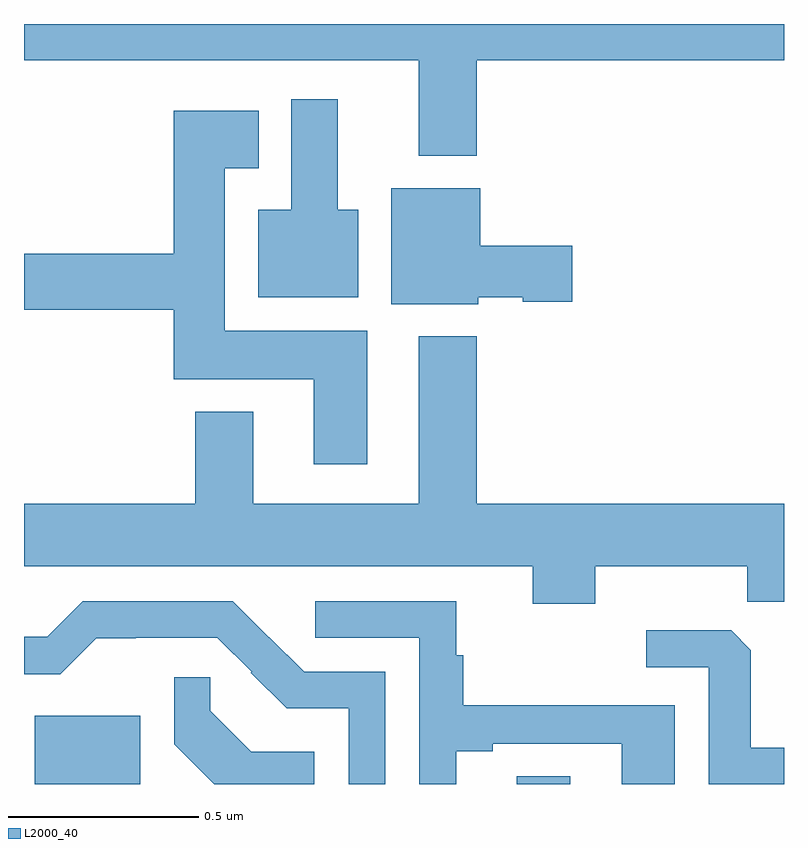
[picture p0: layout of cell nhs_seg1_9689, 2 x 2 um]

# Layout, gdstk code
import gdstk
lib = gdstk.Library(unit=1e-6, precision=1e-09)
def R(c, l, rs):  # rectangles x0, y0, x1, y1
    for r in rs: c.add(gdstk.rectangle(r[:2], r[2:], *l))
def P(c, l, *ps):  # polygons
    for p in ps: c.add(gdstk.Polygon(p, *l))
L2000_40 = (2000, 40)

nhs_seg1_9689 = lib.new_cell('nhs_seg1_9689')
R(nhs_seg1_9689, L2000_40, [(232.028,511.199,232.306,511.378), (233.297,511.199,233.437,511.22)])
P(nhs_seg1_9689, L2000_40, [(233.192,513.104),(234,513.104),(234,513.199),(232,513.199),(232,513.104),(233.039,513.104),(233.039,512.852),(233.192,512.852)],
  [(232.879,512.71),(232.825,512.71),(232.825,513.001),(232.703,513.001),(232.703,512.71),(232.616,512.71),(232.616,512.48),(232.879,512.48)],
  [(232.903,512.392),(232.528,512.392),(232.528,512.819),(232.618,512.819),(232.618,512.971),(232.394,512.971),(232.394,512.594),(232,512.594),(232,512.447),(232.394,512.447),(232.394,512.264),(232.763,512.264),(232.763,512.04),(232.903,512.04)],
  [(233.196,512.48),(233.313,512.48),(233.313,512.468),(233.443,512.468),(233.443,512.615),(233.2,512.615),(233.2,512.767),(232.967,512.767),(232.967,512.462),(233.196,512.462)],
  [(233.503,511.772),(233.903,511.772),(233.903,511.679),(234,511.679),(234,511.936),(233.192,511.936),(233.192,512.377),(233.039,512.377),(233.039,511.936),(232.603,511.936),(232.603,512.179),(232.451,512.179),(232.451,511.936),(232,511.936),(232,511.772),(233.339,511.772),(233.339,511.673),(233.503,511.673)],
  [(232.95,511.494),(232.737,511.494),(232.646,511.585),(232.645,511.584),(232.549,511.68),(232.155,511.68),(232.061,511.586),(232,511.586),(232,511.488),(232.095,511.488),(232.19,511.583),(232.294,511.583),(232.294,511.584),(232.509,511.584),(232.599,511.494),(232.597,511.492),(232.691,511.398),(232.854,511.398),(232.854,511.199),(232.95,511.199)],
  [(233.137,511.285),(233.233,511.285),(233.233,511.305),(233.573,511.305),(233.573,511.199),(233.713,511.199),(233.713,511.406),(233.156,511.406),(233.156,511.538),(233.138,511.538),(233.138,511.68),(232.767,511.68),(232.767,511.584),(233.04,511.584),(233.04,511.199),(233.137,511.199)],
  [(234,511.294),(233.913,511.294),(233.913,511.551),(233.861,511.603),(233.637,511.603),(233.637,511.506),(233.802,511.506),(233.802,511.199),(234,511.199)],
  [(232.764,511.284),(232.598,511.284),(232.49,511.392),(232.49,511.48),(232.395,511.48),(232.395,511.304),(232.5,511.199),(232.764,511.199)])

lib.write_gds('nhs_seg1_9689.gds')
